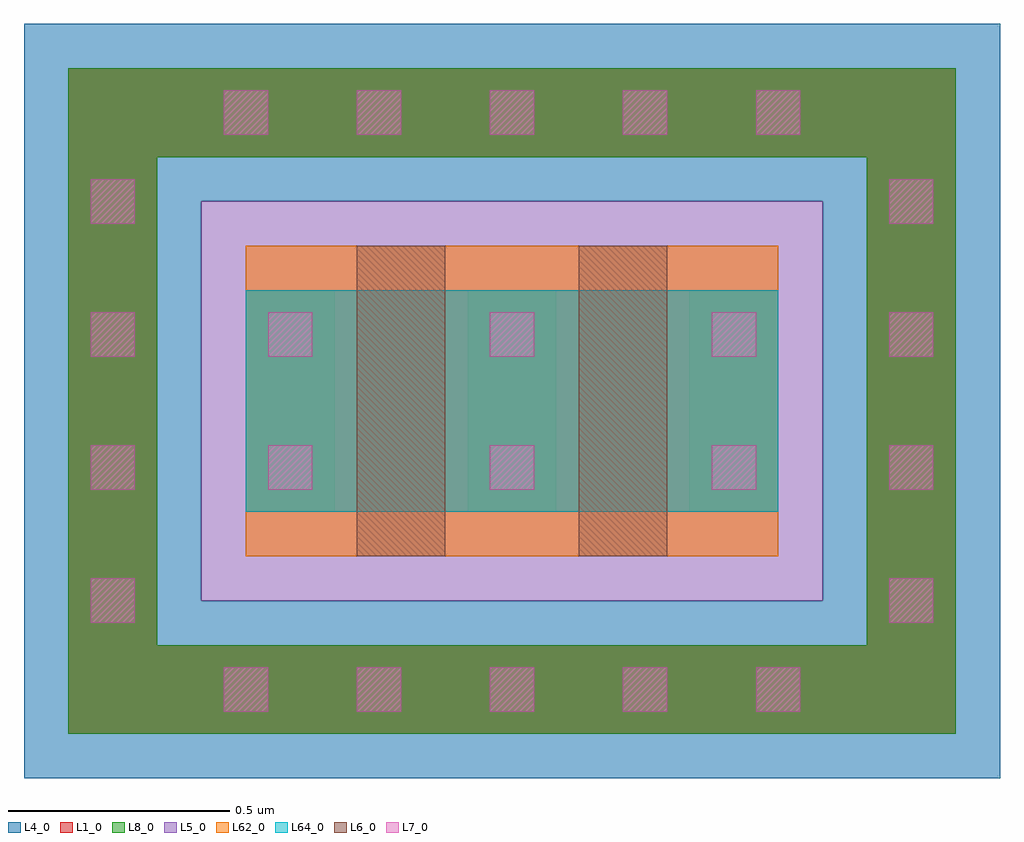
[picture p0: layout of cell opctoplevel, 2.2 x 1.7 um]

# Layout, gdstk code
import gdstk
lib = gdstk.Library(unit=1e-6, precision=1e-09)
def R(c, l, rs):  # rectangles x0, y0, x1, y1
    for r in rs: c.add(gdstk.rectangle(r[:2], r[2:], *l))
def A(c, l, x, y, w, h, nx, ny, dx, dy):  # array of equal rectangles
    R(c, l, [(x+i*dx, y+j*dy, x+i*dx+w, y+j*dy+h) for i in range(nx) for j in range(ny)])
L1_0 = (1, 0)
L4_0 = (4, 0)
L5_0 = (5, 0)
L6_0 = (6, 0)
L7_0 = (7, 0)
L8_0 = (8, 0)
L62_0 = (62, 0)
L64_0 = (64, 0)

opctoplevel = lib.new_cell('opctoplevel')
R(opctoplevel, L1_0, [(-0.65,-0.5,1.35,-0.3), (-0.65,-0.5,-0.45,1), (1.15,-0.5,1.35,1), (-0.25,0,0.95,0.5), (-0.65,0.8,1.35,1)])
R(opctoplevel, L4_0, [(-0.75,-0.6,1.45,-0.2), (-0.75,-0.6,-0.35,1.1), (1.05,-0.6,1.45,1.1), (-0.75,0.7,1.45,1.1)])
R(opctoplevel, L5_0, [(-0.35,-0.2,1.05,0.7)])
R(opctoplevel, L6_0, [(0,-0.1,0.2,0.6), (0.5,-0.1,0.7,0.6)])
A(opctoplevel, L7_0, -0.3, -0.45, 0.1, 0.1, 5, 2, 0.3, 1.3)
A(opctoplevel, L7_0, -0.6, -0.25, 0.1, 0.1, 1, 4, 0, 0.3)
A(opctoplevel, L7_0, 1.2, -0.25, 0.1, 0.1, 1, 4, 0, 0.3)
A(opctoplevel, L7_0, -0.2, 0.05, 0.1, 0.1, 3, 2, 0.5, 0.3)
A(opctoplevel, L8_0, -0.25, 0, 0.2, 0.5, 3, 1, 0.5, 0)
R(opctoplevel, L8_0, [(-0.65,-0.5,1.35,-0.3), (-0.65,-0.5,-0.45,1), (1.15,-0.5,1.35,1), (-0.65,0.8,1.35,1)])
R(opctoplevel, L62_0, [(-0.25,-0.1,0.95,0.6)])
R(opctoplevel, L64_0, [(-0.25,0,0.95,0.5)])

lib.write_gds('opctoplevel.gds')
